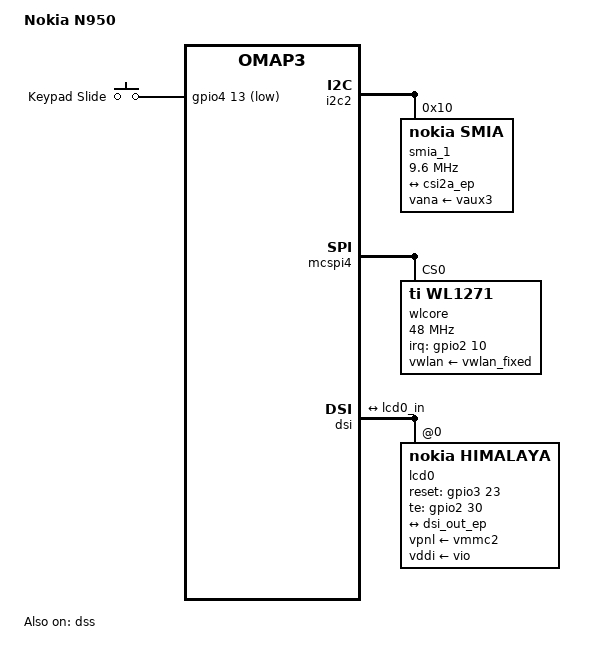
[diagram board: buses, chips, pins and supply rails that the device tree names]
// SPDX-License-Identifier: GPL-2.0-only
/*
 * omap3-n950.dts - Device Tree file for Nokia N950
 *
 * Written by: Aaro Koskinen <aaro.koskinen@iki.fi>
 */

/dts-v1/;

#include "omap3-n950-n9.dtsi"
#include <dt-bindings/input/input.h>

/ {
	model = "Nokia N950";
	compatible = "nokia,omap3-n950", "ti,omap3630", "ti,omap36xx", "ti,omap3";

	keys {
		compatible = "gpio-keys";

		keypad_slide {
			label = "Keypad Slide";
			gpios = <&gpio4 13 GPIO_ACTIVE_LOW>; /* 109 */
			linux,input-type = <EV_SW>;
			linux,code = <SW_KEYPAD_SLIDE>;
			wakeup-source;
			pinctrl-names = "default";
			pinctrl-0 = <&keypad_slide_pins>;
		};
	};
};

&omap3_pmx_core {
	keypad_slide_pins: pinmux_debug_led_pins {
		pinctrl-single,pins = <
			OMAP3_CORE1_IOPAD(0x212a, PIN_INPUT | MUX_MODE4)       /* cam_d10.gpio_109 */
		>;
	};
};

&omap3_pmx_core {
	spi4_pins: pinmux_spi4_pins {
		pinctrl-single,pins = <
			OMAP3_CORE1_IOPAD(0x218c, PIN_INPUT_PULLDOWN | MUX_MODE1) /* mcspi4_clk */
			OMAP3_CORE1_IOPAD(0x2190, PIN_OUTPUT | MUX_MODE1) /* mcspi4_simo */
			OMAP3_CORE1_IOPAD(0x2192, PIN_INPUT_PULLDOWN | MUX_MODE1) /* mcspi4_somi */
			OMAP3_CORE1_IOPAD(0x2196, PIN_OUTPUT | MUX_MODE1) /* mcspi4_cs0 */
		>;
	};
};

&omap3_pmx_core {
	dsi_pins: pinmux_dsi_pins {
		pinctrl-single,pins = <
			OMAP3_CORE1_IOPAD(0x20dc, PIN_OUTPUT | MUX_MODE1) /* dsi_dx0 - data0+ */
			OMAP3_CORE1_IOPAD(0x20de, PIN_OUTPUT | MUX_MODE1) /* dsi_dy0 - data0- */
			OMAP3_CORE1_IOPAD(0x20e0, PIN_OUTPUT | MUX_MODE1) /* dsi_dx1 - clk+   */
			OMAP3_CORE1_IOPAD(0x20e2, PIN_OUTPUT | MUX_MODE1) /* dsi_dy1 - clk-   */
			OMAP3_CORE1_IOPAD(0x20e4, PIN_OUTPUT | MUX_MODE1) /* dsi_dx2 - data1+ */
			OMAP3_CORE1_IOPAD(0x20e6, PIN_OUTPUT | MUX_MODE1) /* dsi_dy2 - data1- */
		>;
	};

	display_pins: pinmux_display_pins {
		pinctrl-single,pins = <
			OMAP3_CORE1_IOPAD(0x20ca, PIN_INPUT | MUX_MODE4) /* gpio 62 - display te */
			OMAP3_CORE1_IOPAD(0x20fe, PIN_OUTPUT | MUX_MODE4) /* gpio 87 - display reset */
		>;
	};
};

&i2c2 {
	smia_1: camera@10 {
		compatible = "nokia,smia";
		reg = <0x10>;
		/* No reset gpio */
		vana-supply = <&vaux3>;
		clocks = <&isp 0>;
		clock-frequency = <9600000>;
		flash-leds = <&as3645a_flash &as3645a_indicator>;
		port {
			smia_1_1: endpoint {
				link-frequencies = /bits/ 64 <210000000 333600000 398400000>;
				clock-lanes = <0>;
				data-lanes = <1 2>;
				remote-endpoint = <&csi2a_ep>;
			};
		};
	};
};

&isp {
	vdd-csiphy1-supply = <&vaux2>;
	vdd-csiphy2-supply = <&vaux2>;
	ports {
		port@2 {
			reg = <2>;
			csi2a_ep: endpoint {
				remote-endpoint = <&smia_1_1>;
				clock-lanes = <2>;
				data-lanes = <3 1>;
				crc = <1>;
				lane-polarities = <1 1 1>;
			};
		};
	};
};

&mcspi4 {
	status = "okay";
	pinctrl-names = "default";
	pinctrl-0 = <&spi4_pins>;

	wlcore: wlcore@0 {
		compatible = "ti,wl1271";
		pinctrl-names = "default";
		pinctrl-0 = <&wlan_pins>;
		reg = <0>;
		spi-max-frequency = <48000000>;
		clock-xtal;
		ref-clock-frequency = <38400000>;
		interrupts-extended = <&gpio2 10 IRQ_TYPE_LEVEL_HIGH>; /* gpio 42 */
		vwlan-supply = <&vwlan_fixed>;
	};
};

&modem {
	compatible = "nokia,n950-modem";
};

&twl {
	twl_audio: audio {
		compatible = "ti,twl4030-audio";
		ti,enable-vibra = <1>;
	};
};

&twl_keypad {
	linux,keymap = < MATRIX_KEY(0x00, 0x00, KEY_BACKSLASH)
			 MATRIX_KEY(0x01, 0x00, KEY_LEFTSHIFT)
			 MATRIX_KEY(0x02, 0x00, KEY_COMPOSE)
			 MATRIX_KEY(0x03, 0x00, KEY_LEFTMETA)
			 MATRIX_KEY(0x04, 0x00, KEY_RIGHTCTRL)
			 MATRIX_KEY(0x05, 0x00, KEY_BACKSPACE)
			 MATRIX_KEY(0x06, 0x00, KEY_VOLUMEDOWN)
			 MATRIX_KEY(0x07, 0x00, KEY_VOLUMEUP)

			 MATRIX_KEY(0x03, 0x01, KEY_Z)
			 MATRIX_KEY(0x04, 0x01, KEY_A)
			 MATRIX_KEY(0x05, 0x01, KEY_Q)
			 MATRIX_KEY(0x06, 0x01, KEY_W)
			 MATRIX_KEY(0x07, 0x01, KEY_E)

			 MATRIX_KEY(0x03, 0x02, KEY_X)
			 MATRIX_KEY(0x04, 0x02, KEY_S)
			 MATRIX_KEY(0x05, 0x02, KEY_D)
			 MATRIX_KEY(0x06, 0x02, KEY_C)
			 MATRIX_KEY(0x07, 0x02, KEY_V)

			 MATRIX_KEY(0x03, 0x03, KEY_O)
			 MATRIX_KEY(0x04, 0x03, KEY_I)
			 MATRIX_KEY(0x05, 0x03, KEY_U)
			 MATRIX_KEY(0x06, 0x03, KEY_L)
			 MATRIX_KEY(0x07, 0x03, KEY_APOSTROPHE)

			 MATRIX_KEY(0x03, 0x04, KEY_Y)
			 MATRIX_KEY(0x04, 0x04, KEY_K)
			 MATRIX_KEY(0x05, 0x04, KEY_J)
			 MATRIX_KEY(0x06, 0x04, KEY_H)
			 MATRIX_KEY(0x07, 0x04, KEY_G)

			 MATRIX_KEY(0x03, 0x05, KEY_B)
			 MATRIX_KEY(0x04, 0x05, KEY_COMMA)
			 MATRIX_KEY(0x05, 0x05, KEY_M)
			 MATRIX_KEY(0x06, 0x05, KEY_N)
			 MATRIX_KEY(0x07, 0x05, KEY_DOT)

			 MATRIX_KEY(0x00, 0x06, KEY_SPACE)
			 MATRIX_KEY(0x03, 0x06, KEY_T)
			 MATRIX_KEY(0x04, 0x06, KEY_UP)
			 MATRIX_KEY(0x05, 0x06, KEY_LEFT)
			 MATRIX_KEY(0x06, 0x06, KEY_RIGHT)
			 MATRIX_KEY(0x07, 0x06, KEY_DOWN)

			 MATRIX_KEY(0x03, 0x07, KEY_P)
			 MATRIX_KEY(0x04, 0x07, KEY_ENTER)
			 MATRIX_KEY(0x05, 0x07, KEY_SLASH)
			 MATRIX_KEY(0x06, 0x07, KEY_F)
			 MATRIX_KEY(0x07, 0x07, KEY_R)
			 >;
};

&lis302 {
	st,axis-x = <(-2)>; /* LIS3_INV_DEV_Y */
	st,axis-y = <(-1)>; /* LIS3_INV_DEV_X */
	st,axis-z = <(-3)>; /* LIS3_INV_DEV_Z */

	st,min-limit-x = <(-32)>;
	st,min-limit-y = <3>;
	st,min-limit-z = <3>;

	st,max-limit-x = <(-3)>;
	st,max-limit-y = <32>;
	st,max-limit-z = <32>;
};

&dss {
	status = "okay";

	vdda_video-supply = <&vdac>;
};

&dsi {
	status = "okay";

	pinctrl-names = "default";
	pinctrl-0 = <&dsi_pins>;

	vdd-supply = <&vpll2>;

	port {
		dsi_out_ep: endpoint {
			remote-endpoint = <&lcd0_in>;
			lanes = <2 3 0 1 4 5>;
		};
	};

	lcd0: panel@0 {
		compatible = "nokia,himalaya", "panel-dsi-cm";
		reg = <0>;
		label = "lcd0";

		pinctrl-names = "default";
		pinctrl-0 = <&display_pins>;

		vpnl-supply = <&vmmc2>;
		vddi-supply = <&vio>;

		reset-gpios = <&gpio3 23 GPIO_ACTIVE_HIGH>;	/* 87 */
		te-gpios = <&gpio2 30 GPIO_ACTIVE_HIGH>;	/* 62 */

		width-mm = <49>; /* 48.960 mm */
		height-mm = <88>; /* 88.128 mm */

		/* TODO:
		 * - panel is upside-down
		 * - top + bottom 5px are not visible
		 */
		panel-timing {
			clock-frequency = <0>;          /* Calculated by dsi */

			hback-porch = <2>;
			hactive = <480>;
			hfront-porch = <0>;
			hsync-len = <2>;

			vback-porch = <1>;
			vactive = <864>;
			vfront-porch = <0>;
			vsync-len = <1>;

			hsync-active = <0>;
			vsync-active = <0>;
			de-active = <1>;
			pixelclk-active = <1>;
		};

		port {
			lcd0_in: endpoint {
				remote-endpoint = <&dsi_out_ep>;
			};
		};
	};
};
